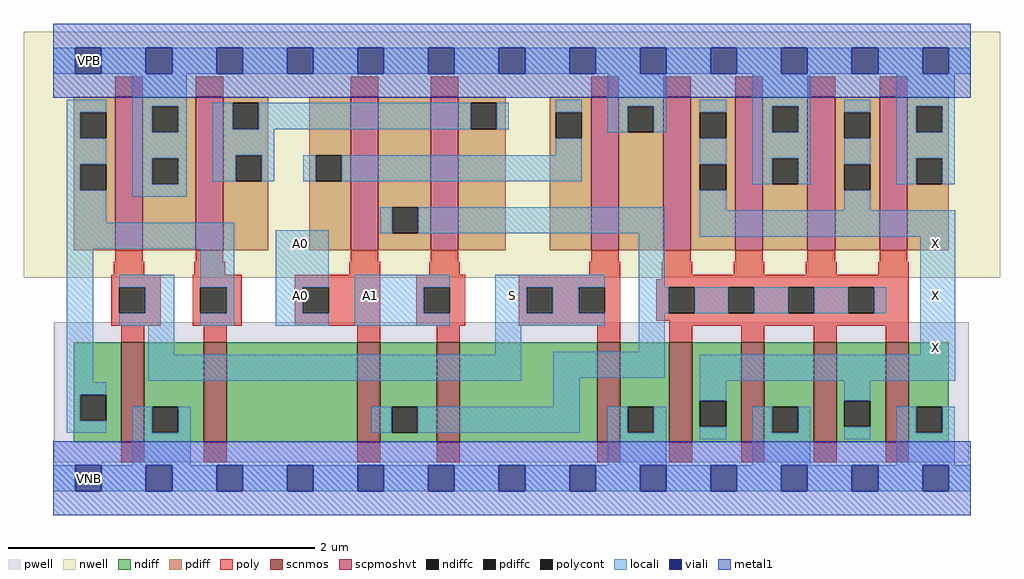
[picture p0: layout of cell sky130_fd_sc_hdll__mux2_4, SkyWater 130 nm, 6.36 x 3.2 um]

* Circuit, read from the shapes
.subckt sky130_fd_sc_hdll__mux2_4 A0 A1 S VGND VNB VPB VPWR X
XM1 VGND S n1 VNB sky130_fd_pr__nfet_01v8 w=0.65 l=0.15
XM2 n2 n1 VGND VNB sky130_fd_pr__nfet_01v8 w=0.65 l=0.15
XM3 n3 A0 n2 VNB sky130_fd_pr__nfet_01v8 w=0.65 l=0.15
XM4 n4 A1 n3 VNB sky130_fd_pr__nfet_01v8 w=0.65 l=0.15
XM5 VGND S n4 VNB sky130_fd_pr__nfet_01v8 w=0.65 l=0.15
XM6 X n3 VGND VNB sky130_fd_pr__nfet_01v8 w=0.65 l=0.15 m=4
XM7 VPWR S n1 VPB sky130_fd_pr__pfet_01v8_hvt w=1 l=0.18
XM8 n5 n1 VPWR VPB sky130_fd_pr__pfet_01v8_hvt w=1 l=0.18
XM9 n3 A0 n6 VPB sky130_fd_pr__pfet_01v8_hvt w=1 l=0.18
XM10 n5 A1 n3 VPB sky130_fd_pr__pfet_01v8_hvt w=1 l=0.18
XM11 VPWR S n6 VPB sky130_fd_pr__pfet_01v8_hvt w=1 l=0.18
XM12 X n3 VPWR VPB sky130_fd_pr__pfet_01v8_hvt w=1 l=0.18 m=4
.ends

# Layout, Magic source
magic
tech sky130A
magscale 1 2
<< nwell >>
rect -38 261 1234 582
<< pwell >>
rect 1 21 1193 203
rect 30 -17 64 21
<< scnmos >>
rect 89 47 119 177
rect 196 47 226 177
rect 396 47 426 177
rect 500 47 530 177
rect 709 47 739 177
rect 803 47 833 177
rect 897 47 927 177
rect 991 47 1021 177
rect 1085 47 1115 177
<< scpmoshvt >>
rect 81 297 117 497
rect 186 297 222 497
rect 388 297 424 497
rect 492 297 528 497
rect 701 297 737 497
rect 795 297 831 497
rect 889 297 925 497
rect 983 297 1019 497
rect 1077 297 1113 497
<< ndiff >>
rect 27 109 89 177
rect 27 75 35 109
rect 69 75 89 109
rect 27 47 89 75
rect 119 93 196 177
rect 119 59 129 93
rect 163 59 196 93
rect 119 47 196 59
rect 226 47 396 177
rect 426 93 500 177
rect 426 59 441 93
rect 475 59 500 93
rect 426 47 500 59
rect 530 47 709 177
rect 739 93 803 177
rect 739 59 749 93
rect 783 59 803 93
rect 739 47 803 59
rect 833 101 897 177
rect 833 67 843 101
rect 877 67 897 101
rect 833 47 897 67
rect 927 93 991 177
rect 927 59 937 93
rect 971 59 991 93
rect 927 47 991 59
rect 1021 101 1085 177
rect 1021 67 1031 101
rect 1065 67 1085 101
rect 1021 47 1085 67
rect 1115 93 1167 177
rect 1115 59 1125 93
rect 1159 59 1167 93
rect 1115 47 1167 59
<< pdiff >>
rect 27 477 81 497
rect 27 443 35 477
rect 69 443 81 477
rect 27 409 81 443
rect 27 375 35 409
rect 69 375 81 409
rect 27 297 81 375
rect 117 485 186 497
rect 117 451 129 485
rect 163 451 186 485
rect 117 417 186 451
rect 117 383 129 417
rect 163 383 186 417
rect 117 297 186 383
rect 222 489 280 497
rect 222 455 234 489
rect 268 455 280 489
rect 222 421 280 455
rect 222 387 238 421
rect 272 387 280 421
rect 222 297 280 387
rect 334 421 388 497
rect 334 387 342 421
rect 376 387 388 421
rect 334 297 388 387
rect 424 353 492 497
rect 424 319 442 353
rect 476 319 492 353
rect 424 297 492 319
rect 528 489 590 497
rect 528 455 544 489
rect 578 455 590 489
rect 528 297 590 455
rect 647 477 701 497
rect 647 443 655 477
rect 689 443 701 477
rect 647 297 701 443
rect 737 485 795 497
rect 737 451 749 485
rect 783 451 795 485
rect 737 297 795 451
rect 831 477 889 497
rect 831 443 843 477
rect 877 443 889 477
rect 831 409 889 443
rect 831 375 843 409
rect 877 375 889 409
rect 831 297 889 375
rect 925 485 983 497
rect 925 451 937 485
rect 971 451 983 485
rect 925 417 983 451
rect 925 383 937 417
rect 971 383 983 417
rect 925 297 983 383
rect 1019 477 1077 497
rect 1019 443 1031 477
rect 1065 443 1077 477
rect 1019 409 1077 443
rect 1019 375 1031 409
rect 1065 375 1077 409
rect 1019 297 1077 375
rect 1113 485 1167 497
rect 1113 451 1125 485
rect 1159 451 1167 485
rect 1113 417 1167 451
rect 1113 383 1125 417
rect 1159 383 1167 417
rect 1113 297 1167 383
<< ndiffc >>
rect 35 75 69 109
rect 129 59 163 93
rect 441 59 475 93
rect 749 59 783 93
rect 843 67 877 101
rect 937 59 971 93
rect 1031 67 1065 101
rect 1125 59 1159 93
<< pdiffc >>
rect 35 443 69 477
rect 35 375 69 409
rect 129 451 163 485
rect 129 383 163 417
rect 234 455 268 489
rect 238 387 272 421
rect 342 387 376 421
rect 442 319 476 353
rect 544 455 578 489
rect 655 443 689 477
rect 749 451 783 485
rect 843 443 877 477
rect 843 375 877 409
rect 937 451 971 485
rect 937 383 971 417
rect 1031 443 1065 477
rect 1031 375 1065 409
rect 1125 451 1159 485
rect 1125 383 1159 417
<< poly >>
rect 81 497 117 523
rect 186 497 222 523
rect 388 497 424 523
rect 492 497 528 523
rect 701 497 737 523
rect 795 497 831 523
rect 889 497 925 523
rect 983 497 1019 523
rect 1077 497 1113 523
rect 81 282 117 297
rect 186 282 222 297
rect 388 282 424 297
rect 492 282 528 297
rect 701 282 737 297
rect 795 282 831 297
rect 889 282 925 297
rect 983 282 1019 297
rect 1077 282 1113 297
rect 79 265 119 282
rect 184 265 224 282
rect 386 265 426 282
rect 490 265 530 282
rect 699 265 739 282
rect 76 249 140 265
rect 76 215 86 249
rect 120 215 140 249
rect 76 199 140 215
rect 182 249 246 265
rect 182 215 192 249
rect 226 215 246 249
rect 182 199 246 215
rect 315 249 426 265
rect 315 215 325 249
rect 359 215 426 249
rect 315 199 426 215
rect 473 249 537 265
rect 473 215 483 249
rect 517 215 537 249
rect 473 199 537 215
rect 607 249 739 265
rect 793 265 833 282
rect 887 265 927 282
rect 981 265 1021 282
rect 1075 265 1115 282
rect 793 259 1115 265
rect 607 215 617 249
rect 651 215 685 249
rect 719 215 739 249
rect 607 199 739 215
rect 786 249 1115 259
rect 786 215 802 249
rect 836 215 880 249
rect 914 215 958 249
rect 992 215 1036 249
rect 1070 215 1115 249
rect 786 205 1115 215
rect 89 177 119 199
rect 196 177 226 199
rect 396 177 426 199
rect 500 177 530 199
rect 709 177 739 199
rect 803 199 1115 205
rect 803 177 833 199
rect 897 177 927 199
rect 991 177 1021 199
rect 1085 177 1115 199
rect 89 21 119 47
rect 196 21 226 47
rect 396 21 426 47
rect 500 21 530 47
rect 709 21 739 47
rect 803 21 833 47
rect 897 21 927 47
rect 991 21 1021 47
rect 1085 21 1115 47
<< polycont >>
rect 86 215 120 249
rect 192 215 226 249
rect 325 215 359 249
rect 483 215 517 249
rect 617 215 651 249
rect 685 215 719 249
rect 802 215 836 249
rect 880 215 914 249
rect 958 215 992 249
rect 1036 215 1070 249
<< locali >>
rect 0 527 29 561
rect 63 527 121 561
rect 155 527 213 561
rect 247 527 305 561
rect 339 527 397 561
rect 431 527 489 561
rect 523 527 581 561
rect 615 527 673 561
rect 707 527 765 561
rect 799 527 857 561
rect 891 527 949 561
rect 983 527 1041 561
rect 1075 527 1133 561
rect 1167 527 1196 561
rect 18 477 69 493
rect 18 443 35 477
rect 18 409 69 443
rect 18 375 35 409
rect 18 333 69 375
rect 103 485 174 527
rect 103 451 129 485
rect 163 451 174 485
rect 103 417 174 451
rect 103 383 129 417
rect 163 383 174 417
rect 208 455 234 489
rect 268 455 544 489
rect 578 455 594 489
rect 655 477 689 493
rect 208 421 288 455
rect 723 485 799 527
rect 723 451 749 485
rect 783 451 799 485
rect 843 477 877 493
rect 655 421 689 443
rect 208 387 238 421
rect 272 387 288 421
rect 326 387 342 421
rect 376 387 689 421
rect 843 409 877 443
rect 103 367 174 383
rect 911 485 987 527
rect 911 451 937 485
rect 971 451 987 485
rect 911 417 987 451
rect 911 383 937 417
rect 971 383 987 417
rect 1031 477 1065 493
rect 1031 409 1065 443
rect 18 299 236 333
rect 18 125 52 299
rect 86 249 158 265
rect 120 215 158 249
rect 86 199 158 215
rect 192 249 236 299
rect 226 215 236 249
rect 192 199 236 215
rect 290 249 359 323
rect 426 319 442 353
rect 476 319 797 353
rect 290 215 325 249
rect 290 199 359 215
rect 393 249 517 265
rect 393 215 483 249
rect 393 199 517 215
rect 576 249 719 265
rect 576 215 617 249
rect 651 215 685 249
rect 576 199 719 215
rect 763 249 797 319
rect 843 349 877 375
rect 1099 485 1175 527
rect 1099 451 1125 485
rect 1159 451 1175 485
rect 1099 417 1175 451
rect 1099 383 1125 417
rect 1159 383 1175 417
rect 1031 349 1065 375
rect 843 315 1176 349
rect 763 215 802 249
rect 836 215 880 249
rect 914 215 958 249
rect 992 215 1036 249
rect 1070 215 1086 249
rect 124 161 158 199
rect 576 161 610 199
rect 763 165 797 215
rect 124 127 610 161
rect 652 131 797 165
rect 1130 161 1176 315
rect 18 109 69 125
rect 18 75 35 109
rect 652 93 686 131
rect 843 127 1176 161
rect 843 101 877 127
rect 18 59 69 75
rect 103 59 129 93
rect 163 59 179 93
rect 415 59 441 93
rect 475 59 686 93
rect 723 59 749 93
rect 783 59 799 93
rect 103 17 179 59
rect 723 17 799 59
rect 1031 101 1065 127
rect 843 51 877 67
rect 911 59 937 93
rect 971 59 987 93
rect 911 17 987 59
rect 1031 51 1065 67
rect 1099 59 1125 93
rect 1159 59 1175 93
rect 1099 17 1175 59
rect 0 -17 29 17
rect 63 -17 121 17
rect 155 -17 213 17
rect 247 -17 305 17
rect 339 -17 397 17
rect 431 -17 489 17
rect 523 -17 581 17
rect 615 -17 673 17
rect 707 -17 765 17
rect 799 -17 857 17
rect 891 -17 949 17
rect 983 -17 1041 17
rect 1075 -17 1133 17
rect 1167 -17 1196 17
<< viali >>
rect 29 527 63 561
rect 121 527 155 561
rect 213 527 247 561
rect 305 527 339 561
rect 397 527 431 561
rect 489 527 523 561
rect 581 527 615 561
rect 673 527 707 561
rect 765 527 799 561
rect 857 527 891 561
rect 949 527 983 561
rect 1041 527 1075 561
rect 1133 527 1167 561
rect 29 -17 63 17
rect 121 -17 155 17
rect 213 -17 247 17
rect 305 -17 339 17
rect 397 -17 431 17
rect 489 -17 523 17
rect 581 -17 615 17
rect 673 -17 707 17
rect 765 -17 799 17
rect 857 -17 891 17
rect 949 -17 983 17
rect 1041 -17 1075 17
rect 1133 -17 1167 17
<< metal1 >>
rect 0 561 1196 592
rect 0 527 29 561
rect 63 527 121 561
rect 155 527 213 561
rect 247 527 305 561
rect 339 527 397 561
rect 431 527 489 561
rect 523 527 581 561
rect 615 527 673 561
rect 707 527 765 561
rect 799 527 857 561
rect 891 527 949 561
rect 983 527 1041 561
rect 1075 527 1133 561
rect 1167 527 1196 561
rect 0 496 1196 527
rect 0 17 1196 48
rect 0 -17 29 17
rect 63 -17 121 17
rect 155 -17 213 17
rect 247 -17 305 17
rect 339 -17 397 17
rect 431 -17 489 17
rect 523 -17 581 17
rect 615 -17 673 17
rect 707 -17 765 17
rect 799 -17 857 17
rect 891 -17 949 17
rect 983 -17 1041 17
rect 1075 -17 1133 17
rect 1167 -17 1196 17
rect 0 -48 1196 -17
<< labels >>
flabel locali s 1133 153 1167 187 0 FreeSans 200 0 0 0 X
port 8 nsew signal output
flabel locali s 1133 221 1167 255 0 FreeSans 200 0 0 0 X
port 8 nsew signal output
flabel locali s 1133 289 1167 323 0 FreeSans 200 0 0 0 X
port 8 nsew signal output
flabel locali s 581 221 615 255 0 FreeSans 200 0 0 0 S
port 3 nsew signal input
flabel locali s 305 221 339 255 0 FreeSans 200 0 0 0 A0
port 1 nsew signal input
flabel locali s 397 221 431 255 0 FreeSans 200 0 0 0 A1
port 2 nsew signal input
flabel locali s 305 289 339 323 0 FreeSans 200 0 0 0 A0
port 1 nsew signal input
flabel pwell s 30 -17 64 17 0 FreeSans 200 0 0 0 VNB
port 5 nsew ground bidirectional
flabel nwell s 30 527 64 561 0 FreeSans 200 0 0 0 VPB
port 6 nsew power bidirectional
flabel metal1 s 30 527 64 561 0 FreeSans 200 0 0 0 VPWR
port 7 nsew power bidirectional
flabel metal1 s 30 -17 64 17 0 FreeSans 200 0 0 0 VGND
port 4 nsew ground bidirectional
rlabel comment s 0 0 0 0 4 mux2_4
<< properties >>
string LEFsite unithd
string LEFclass CORE
string FIXED_BBOX 0 0 1196 544
string GDS_FILE $PDKPATH/libs.ref/sky130_fd_sc_hdll/gds/sky130_fd_sc_hdll.gds
string LEFsymmetry X Y R90
string GDS_END 1066690
string GDS_START 1057924
string LEFproperties maskLayoutSubType "abstract" prCellType "standard" originalViewName "layout"
<< end >>
